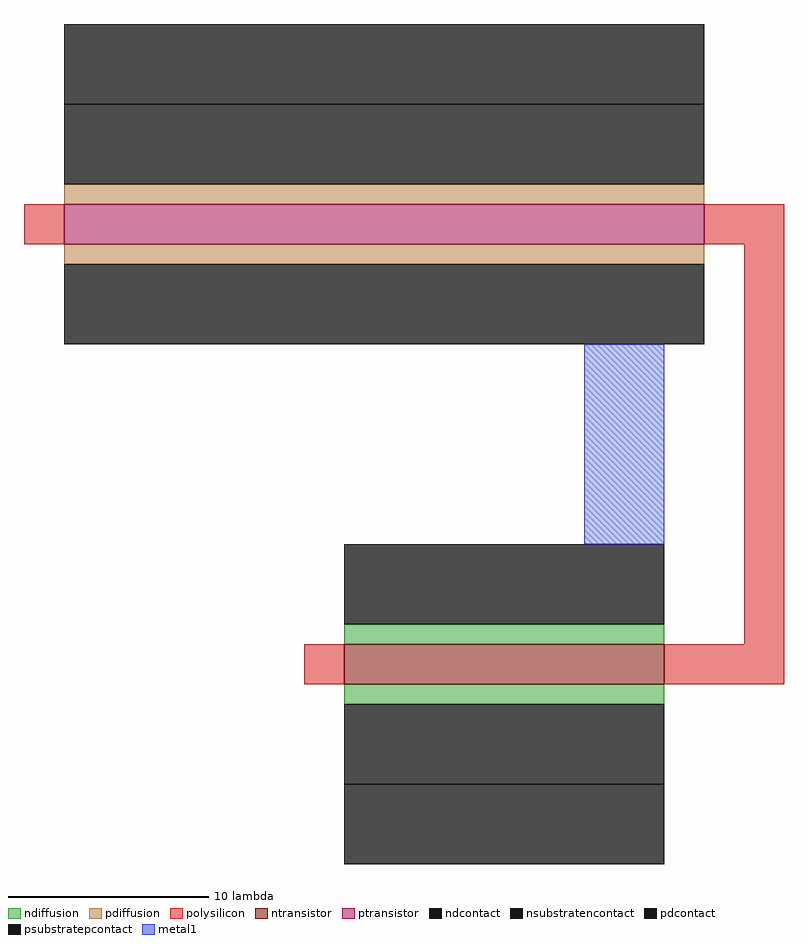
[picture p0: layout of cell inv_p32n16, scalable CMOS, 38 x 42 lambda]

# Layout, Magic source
magic
tech scmos
<< polysilicon >>
rect -30 5 -28 7
rect 4 5 8 7
rect 6 -15 8 5
rect -16 -17 -14 -15
rect 2 -17 8 -15
<< ndiffusion >>
rect -14 -15 2 -14
rect -14 -18 2 -17
<< pdiffusion >>
rect -28 7 4 8
rect -28 4 4 5
<< metal1 >>
rect -2 -10 2 0
<< ntransistor >>
rect -14 -17 2 -15
<< ptransistor >>
rect -28 5 4 7
<< ndcontact >>
rect -14 -14 2 -10
rect -14 -22 2 -18
<< pdcontact >>
rect -28 8 4 12
rect -28 0 4 4
<< psubstratepcontact >>
rect -14 -26 2 -22
<< nsubstratencontact >>
rect -28 12 4 16
<< end >>
